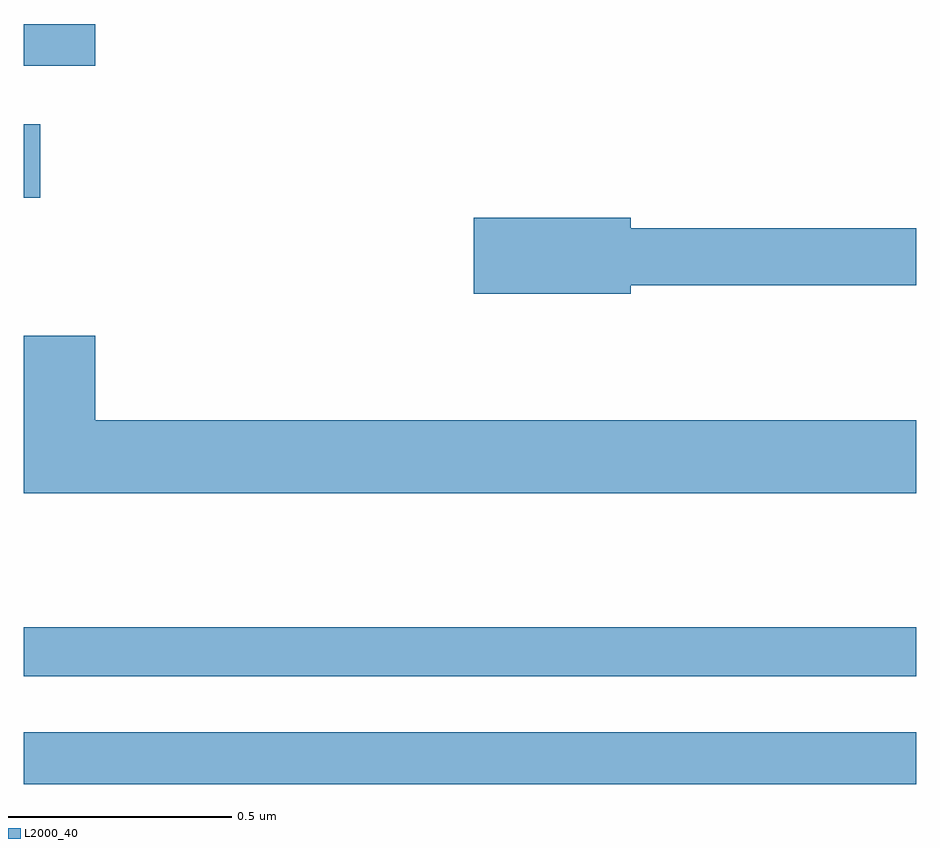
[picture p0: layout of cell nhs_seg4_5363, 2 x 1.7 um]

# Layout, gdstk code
import gdstk
lib = gdstk.Library(unit=1e-6, precision=1e-09)
def R(c, l, rs):  # rectangles x0, y0, x1, y1
    for r in rs: c.add(gdstk.rectangle(r[:2], r[2:], *l))
def P(c, l, *ps):  # polygons
    for p in ps: c.add(gdstk.Polygon(p, *l))
L2000_40 = (2000, 40)

nhs_seg4_5363 = lib.new_cell('nhs_seg4_5363')
R(nhs_seg4_5363, L2000_40, [(177,768.196,179,768.312), (177,768.438,179,768.547), (177,769.51,177.037,769.675), (177,769.806,177.16,769.9)])
P(nhs_seg4_5363, L2000_40, [(178.36,769.314),(179,769.314),(179,769.442),(178.36,769.442),(178.36,769.466),(178.008,769.466),(178.008,769.295),(178.36,769.295)],
  [(179,769.012),(177.16,769.012),(177.16,769.201),(177,769.201),(177,768.848),(179,768.848)])

lib.write_gds('nhs_seg4_5363.gds')
